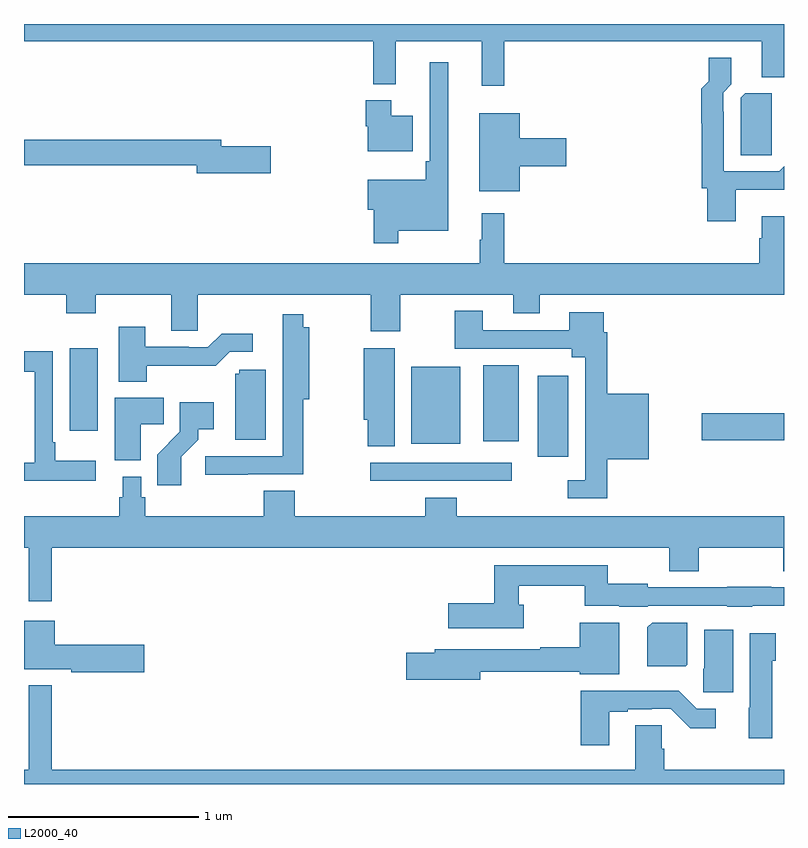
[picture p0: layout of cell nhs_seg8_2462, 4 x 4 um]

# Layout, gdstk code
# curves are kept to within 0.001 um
import gdstk
lib = gdstk.Library(unit=1e-6, precision=1e-09)
def R(c, l, rs):  # rectangles x0, y0, x1, y1
    for r in rs: c.add(gdstk.rectangle(r[:2], r[2:], *l))
def P(c, l, *ps):  # polygons
    for p in ps: c.add(gdstk.Polygon(p, *l))
L2000_40 = (2000, 40)

nhs_seg8_2462 = lib.new_cell('nhs_seg8_2462')
R(nhs_seg8_2462, L2000_40, [(266.823,1139.496,267.568,1139.592), (267.704,1139.622,267.865,1140.049), (267.038,1139.69,267.295,1140.097), (267.416,1139.705,267.604,1140.103), (268.566,1139.71,269,1139.852), (265.241,1139.76,265.387,1140.193)])
P(nhs_seg8_2462, L2000_40, [(267.527,1141.808),(268.883,1141.808),(268.883,1141.621),(269,1141.621),(269,1141.9),(265,1141.9),(265,1141.808),(266.839,1141.808),(266.839,1141.583),(266.957,1141.583),(266.957,1141.808),(267.41,1141.808),(267.41,1141.575),(267.527,1141.575)],
  [(268.747,1141.028),(269,1141.028),(269,1141.151),(268.974,1141.125),(268.683,1141.125),(268.683,1141.439),(268.68,1141.439),(268.68,1141.539),(268.723,1141.582),(268.723,1141.723),(268.603,1141.723),(268.603,1141.599),(268.565,1141.56),(268.565,1141.378),(268.567,1141.378),(268.567,1141.035),(268.595,1141.035),(268.595,1140.861),(268.747,1140.861)],
  [(266.971,1140.812),(267.232,1140.812),(267.232,1141.699),(267.135,1141.699),(267.135,1141.177),(267.115,1141.177),(267.115,1141.081),(266.808,1141.081),(266.808,1140.923),(266.842,1140.923),(266.842,1140.747),(266.971,1140.747)],
  [(268.935,1141.321),(268.936,1141.321),(268.936,1141.536),(268.797,1141.536),(268.773,1141.512),(268.773,1141.21),(268.935,1141.21)],
  [(267.046,1141.417),(266.932,1141.417),(266.932,1141.498),(266.798,1141.498),(266.798,1141.362),(266.81,1141.362),(266.81,1141.229),(267.046,1141.229)],
  [(267.61,1141.151),(267.853,1141.151),(267.853,1141.298),(267.61,1141.298),(267.61,1141.429),(267.395,1141.429),(267.395,1141.019),(267.61,1141.019)],
  [(266.299,1141.256),(266.038,1141.256),(266.038,1141.292),(265,1141.292),(265,1141.156),(265.91,1141.156),(265.91,1141.114),(266.299,1141.114)],
  [(266.979,1140.476),(267.575,1140.476),(267.575,1140.377),(267.715,1140.377),(267.715,1140.476),(269,1140.476),(269,1140.889),(268.883,1140.889),(268.883,1140.773),(268.871,1140.773),(268.871,1140.64),(267.527,1140.64),(267.527,1140.904),(267.41,1140.904),(267.41,1140.764),(267.399,1140.764),(267.399,1140.64),(265,1140.64),(265,1140.476),(265.222,1140.476),(265.222,1140.377),(265.377,1140.377),(265.377,1140.476),(265.775,1140.476),(265.775,1140.286),(265.914,1140.286),(265.914,1140.476),(266.824,1140.476),(266.824,1140.282),(266.979,1140.282)],
  [(268.07,1139.609),(268.288,1139.609),(268.288,1139.953),(268.07,1139.953),(268.07,1140.278),(268.051,1140.278),(268.051,1140.382),(267.869,1140.382),(267.869,1140.288),(267.415,1140.288),(267.415,1140.391),(267.268,1140.391),(267.268,1140.192),(267.884,1140.192),(267.884,1140.146),(267.954,1140.146),(267.954,1139.849),(267.953,1139.849),(267.953,1139.499),(267.861,1139.499),(267.861,1139.403),(268.07,1139.403)],
  [(266.177,1139.529),(266.47,1139.529),(266.47,1139.924),(266.502,1139.924),(266.502,1140.304),(266.47,1140.304),(266.47,1140.373),(266.361,1140.373),(266.361,1139.625),(265.953,1139.625),(265.953,1139.527),(266.177,1139.527)],
  [(265.647,1140.102),(266.009,1140.101),(266.082,1140.174),(266.203,1140.174),(266.203,1140.271),(266.041,1140.271),(265.968,1140.198),(265.868,1140.198),(265.868,1140.201),(265.639,1140.201),(265.639,1140.307),(265.499,1140.307),(265.499,1140.017),(265.647,1140.017)],
  [(266.95,1140.193),(266.788,1140.193),(266.788,1139.817),(266.809,1139.817),(266.809,1139.677),(266.95,1139.677)],
  [(265.378,1139.602),(265.165,1139.602),(265.165,1139.698),(265.152,1139.698),(265.152,1140.178),(265,1140.178),(265,1140.069),(265.056,1140.069),(265.056,1139.592),(265,1139.592),(265,1139.495),(265.378,1139.495)],
  [(266.272,1140.081),(266.133,1140.081),(266.133,1140.06),(266.111,1140.06),(266.111,1139.712),(266.272,1139.712)],
  [(265.615,1139.794),(265.736,1139.794),(265.736,1139.932),(265.478,1139.932),(265.478,1139.603),(265.615,1139.603)],
  [(265.828,1139.623),(265.918,1139.713),(265.918,1139.768),(265.999,1139.768),(265.999,1139.908),(265.821,1139.908),(265.821,1139.753),(265.702,1139.634),(265.702,1139.472),(265.828,1139.472)],
  [(265.147,1139.144),(268.396,1139.144),(268.396,1139.02),(268.551,1139.02),(268.551,1139.144),(268.996,1139.144),(268.996,1139.02),(269,1139.02),(269,1139.308),(267.278,1139.308),(267.278,1139.407),(267.113,1139.407),(267.113,1139.308),(266.426,1139.308),(266.426,1139.444),(266.261,1139.444),(266.261,1139.308),(265.637,1139.308),(265.637,1139.409),(265.617,1139.409),(265.617,1139.518),(265.52,1139.518),(265.52,1139.409),(265.501,1139.409),(265.501,1139.308),(265,1139.308),(265,1139.144),(265.025,1139.144),(265.025,1138.863),(265.147,1138.863)],
  [(267.63,1138.843),(267.604,1138.843),(267.604,1138.944),(267.951,1138.944),(267.951,1138.838),(268.134,1138.838),(268.134,1138.832),(268.284,1138.832),(268.284,1138.839),(268.701,1138.839),(268.701,1138.832),(268.833,1138.832),(268.833,1138.838),(269,1138.838),(269,1138.935),(268.933,1138.935),(268.933,1138.937),(268.701,1138.937),(268.701,1138.935),(268.284,1138.935),(268.284,1138.954),(268.072,1138.954),(268.072,1139.052),(267.475,1139.052),(267.475,1138.851),(267.234,1138.851),(267.234,1138.721),(267.63,1138.721)],
  [(265.633,1138.634),(265.162,1138.634),(265.162,1138.759),(265,1138.759),(265,1138.505),(265.248,1138.505),(265.248,1138.487),(265.633,1138.487)],
  [(267.4,1138.492),(267.926,1138.492),(267.926,1138.478),(268.132,1138.478),(268.132,1138.75),(267.926,1138.75),(267.926,1138.621),(267.718,1138.621),(267.718,1138.608),(267.161,1138.608),(267.161,1138.592),(267.012,1138.592),(267.012,1138.45),(267.4,1138.45)],
  [(268.492,1138.528),(268.492,1138.75),(268.306,1138.75),(268.28,1138.724),(268.28,1138.52),(268.484,1138.52)],
  [(268.732,1138.711),(268.58,1138.711),(268.58,1138.506),(268.576,1138.506),(268.576,1138.383),(268.732,1138.383)],
  [(268.939,1138.548),(268.957,1138.548),(268.957,1138.693),(268.82,1138.693),(268.82,1138.302),(268.814,1138.302),(268.814,1138.14),(268.939,1138.14)],
  [(269,1137.976),(268.37,1137.976),(268.37,1138.086),(268.356,1138.086),(268.356,1138.208),(268.217,1138.208),(268.217,1137.976),(265.147,1137.976),(265.147,1138.42),(265.025,1138.42),(265.025,1137.976),(265,1137.976),(265,1137.9),(269,1137.9)],
  [(268.081,1138.281),(268.177,1138.281),(268.177,1138.293),(268.304,1138.293),(268.304,1138.296),(268.404,1138.296),(268.507,1138.194),(268.642,1138.194),(268.642,1138.296),(268.542,1138.296),(268.447,1138.391),(267.929,1138.391),(267.929,1138.104),(268.081,1138.104)])

lib.write_gds('nhs_seg8_2462.gds')
